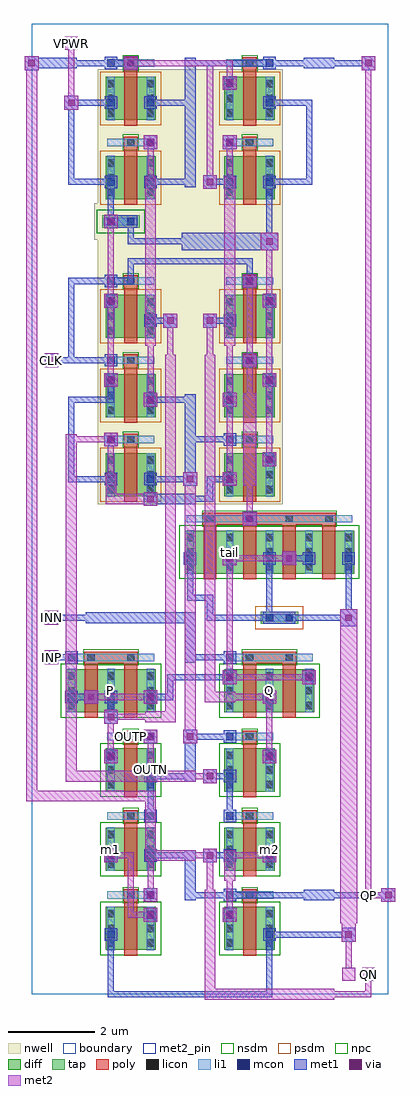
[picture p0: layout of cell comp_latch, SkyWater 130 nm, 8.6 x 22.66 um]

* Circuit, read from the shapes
.subckt comp_latch CLK INN INP OUTN OUTP P Q QN QP VGND VPWR m1 m2 tail
XM1 P INP tail VGND sky130_fd_pr__nfet_01v8 w=1 l=0.3 m=2
XM2 m1 QN VGND VGND sky130_fd_pr__nfet_01v8 w=1 l=0.3
XM3 QP OUTN m1 VGND sky130_fd_pr__nfet_01v8 w=1 l=0.3
XM4 OUTN OUTP P VGND sky130_fd_pr__nfet_01v8 w=1 l=0.3
XM5 tail CLK VGND VGND sky130_fd_pr__nfet_01v8 w=1 l=0.3 m=4
XM6 VGND QP m2 VGND sky130_fd_pr__nfet_01v8 w=1 l=0.3
XM7 m2 OUTP QN VGND sky130_fd_pr__nfet_01v8 w=1 l=0.3
XM8 Q OUTN OUTP VGND sky130_fd_pr__nfet_01v8 w=1 l=0.3
XM9 Q INN tail VGND sky130_fd_pr__nfet_01v8 w=1 l=0.3 m=2
XM10 OUTN OUTP VPWR VPWR sky130_fd_pr__pfet_01v8 w=1 l=0.3
XM11 OUTN CLK VPWR VPWR sky130_fd_pr__pfet_01v8 w=1 l=0.3
XM12 P CLK VPWR VPWR sky130_fd_pr__pfet_01v8 w=1 l=0.3
XM13 QP OUTN VPWR VPWR sky130_fd_pr__pfet_01v8 w=1 l=0.3
XM14 QP QN VPWR VPWR sky130_fd_pr__pfet_01v8 w=1 l=0.3
XM15 VPWR OUTN OUTP VPWR sky130_fd_pr__pfet_01v8 w=1 l=0.3
XM16 VPWR CLK OUTP VPWR sky130_fd_pr__pfet_01v8 w=1 l=0.3
XM17 VPWR CLK Q VPWR sky130_fd_pr__pfet_01v8 w=1 l=0.3
XM18 VPWR OUTP QN VPWR sky130_fd_pr__pfet_01v8 w=1 l=0.3
XM19 VPWR QP QN VPWR sky130_fd_pr__pfet_01v8 w=1 l=0.3
.ends

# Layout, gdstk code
import gdstk
lib = gdstk.Library(unit=1e-6, precision=1e-09)
def R(c, l, rs):  # rectangles x0, y0, x1, y1
    for r in rs: c.add(gdstk.rectangle(r[:2], r[2:], *l))
def A(c, l, x, y, w, h, nx, ny, dx, dy):  # array of equal rectangles
    R(c, l, [(x+i*dx, y+j*dy, x+i*dx+w, y+j*dy+h) for i in range(nx) for j in range(ny)])
nwell = (64, 20)
diff = (65, 20)
tap = (65, 44)
poly = (66, 20)
licon = (66, 44)
li1 = (67, 20)
mcon = (67, 44)
met1 = (68, 20)
via = (68, 44)
met2_pin = (69, 16)
met2 = (69, 20)
nsdm = (93, 44)
psdm = (94, 20)
npc = (95, 20)
boundary = (235, 4)

comp_latch = lib.new_cell('comp_latch')
R(comp_latch, nwell, [(1.535,11.38,5.825,17.52), (1.455,17.52,5.825,18.36), (1.535,18.36,5.825,21.48)])
A(comp_latch, diff, 1.715, 1.025, 1.17, 1, 1, 3, 0, 1.84)
A(comp_latch, diff, 4.475, 1.025, 1.17, 1, 1, 3, 0, 1.84)
A(comp_latch, diff, 1.715, 11.56, 1.17, 1, 1, 3, 0, 1.84)
A(comp_latch, diff, 4.475, 11.56, 1.17, 1, 1, 3, 0, 1.84)
R(comp_latch, diff, [(0.795,6.545,2.885,7.545), (4.475,6.545,6.565,7.545), (3.555,9.765,7.485,10.765), (1.715,18.46,2.885,19.46), (4.475,18.46,5.645,19.46), (1.715,20.3,2.885,21.3), (4.475,20.3,5.645,21.3)])
R(comp_latch, tap, [(5.315,8.595,6.185,8.885), (1.635,17.795,2.505,18.085)])
A(comp_latch, poly, 2.15, 0.895, 0.3, 1.405, 1, 4, 0, 1.84)
A(comp_latch, poly, 4.91, 0.895, 0.3, 1.405, 1, 4, 0, 1.84)
A(comp_latch, poly, 2.135, 2.165, 0.33, 0.27, 1, 3, 0, 1.84)
A(comp_latch, poly, 4.895, 2.165, 0.33, 0.27, 1, 3, 0, 1.84)
A(comp_latch, poly, 3.99, 9.635, 0.3, 1.405, 4, 1, 0.92, 0)
A(comp_latch, poly, 2.15, 11.43, 0.3, 1.45, 1, 3, 0, 1.84)
A(comp_latch, poly, 4.91, 11.43, 0.3, 1.45, 1, 3, 0, 1.84)
A(comp_latch, poly, 2.135, 12.745, 0.33, 0.27, 1, 3, 0, 1.84)
A(comp_latch, poly, 4.895, 12.745, 0.33, 0.27, 1, 3, 0, 1.84)
R(comp_latch, poly, [(1.23,6.415,1.53,7.82), (5.83,6.415,6.13,7.82), (1.215,7.685,2.465,7.955), (4.895,7.685,6.145,7.955), (3.975,10.905,7.065,11.175), (2.15,18.33,2.45,19.78), (4.91,18.33,5.21,19.78), (2.135,19.645,2.465,19.915), (4.895,19.645,5.225,19.915), (2.15,20.17,2.45,21.62), (4.91,20.17,5.21,21.62), (2.135,21.485,2.465,21.755), (4.895,21.485,5.225,21.755)])
A(comp_latch, licon, 1.755, 1.1, 0.17, 0.17, 1, 3, 0, 0.34)
A(comp_latch, licon, 2.675, 1.1, 0.17, 0.17, 1, 3, 0, 0.34)
A(comp_latch, licon, 4.515, 1.1, 0.17, 0.17, 1, 3, 0, 0.34)
A(comp_latch, licon, 5.435, 1.1, 0.17, 0.17, 1, 3, 0, 0.34)
A(comp_latch, licon, 2.215, 2.215, 0.17, 0.17, 1, 4, 0, 1.84)
A(comp_latch, licon, 4.975, 2.215, 0.17, 0.17, 1, 4, 0, 1.84)
A(comp_latch, licon, 1.755, 2.94, 0.17, 0.17, 1, 3, 0, 0.34)
A(comp_latch, licon, 2.675, 2.94, 0.17, 0.17, 1, 3, 0, 0.34)
A(comp_latch, licon, 4.515, 2.94, 0.17, 0.17, 1, 3, 0, 0.34)
A(comp_latch, licon, 5.435, 2.94, 0.17, 0.17, 1, 3, 0, 0.34)
A(comp_latch, licon, 1.755, 4.78, 0.17, 0.17, 1, 3, 0, 0.34)
A(comp_latch, licon, 2.675, 4.78, 0.17, 0.17, 1, 3, 0, 0.34)
A(comp_latch, licon, 4.515, 4.78, 0.17, 0.17, 1, 3, 0, 0.34)
A(comp_latch, licon, 5.435, 4.78, 0.17, 0.17, 1, 3, 0, 0.34)
A(comp_latch, licon, 0.835, 6.62, 0.17, 0.17, 3, 3, 0.92, 0.34)
A(comp_latch, licon, 4.515, 6.62, 0.17, 0.17, 3, 3, 0.92, 0.34)
A(comp_latch, licon, 3.595, 9.84, 0.17, 0.17, 5, 3, 0.92, 0.34)
A(comp_latch, licon, 4.055, 10.955, 0.17, 0.17, 4, 1, 0.92, 0)
A(comp_latch, licon, 1.755, 11.635, 0.17, 0.17, 1, 3, 0, 0.34)
A(comp_latch, licon, 2.675, 11.635, 0.17, 0.17, 1, 3, 0, 0.34)
A(comp_latch, licon, 4.515, 11.635, 0.17, 0.17, 1, 3, 0, 0.34)
A(comp_latch, licon, 5.435, 11.635, 0.17, 0.17, 1, 3, 0, 0.34)
A(comp_latch, licon, 2.215, 12.795, 0.17, 0.17, 1, 3, 0, 1.84)
A(comp_latch, licon, 4.975, 12.795, 0.17, 0.17, 1, 3, 0, 1.84)
A(comp_latch, licon, 1.755, 13.475, 0.17, 0.17, 1, 3, 0, 0.34)
A(comp_latch, licon, 2.675, 13.475, 0.17, 0.17, 1, 3, 0, 0.34)
A(comp_latch, licon, 4.515, 13.475, 0.17, 0.17, 1, 3, 0, 0.34)
A(comp_latch, licon, 5.435, 13.475, 0.17, 0.17, 1, 3, 0, 0.34)
A(comp_latch, licon, 1.755, 15.315, 0.17, 0.17, 1, 3, 0, 0.34)
A(comp_latch, licon, 2.675, 15.315, 0.17, 0.17, 1, 3, 0, 0.34)
A(comp_latch, licon, 4.515, 15.315, 0.17, 0.17, 1, 3, 0, 0.34)
A(comp_latch, licon, 5.435, 15.315, 0.17, 0.17, 1, 3, 0, 0.34)
A(comp_latch, licon, 2.215, 17.855, 0.17, 0.17, 1, 3, 0, 1.84)
A(comp_latch, licon, 1.755, 18.535, 0.17, 0.17, 1, 3, 0, 0.34)
A(comp_latch, licon, 2.675, 18.535, 0.17, 0.17, 1, 3, 0, 0.34)
A(comp_latch, licon, 4.515, 18.535, 0.17, 0.17, 1, 3, 0, 0.34)
A(comp_latch, licon, 5.435, 18.535, 0.17, 0.17, 1, 3, 0, 0.34)
A(comp_latch, licon, 1.755, 20.375, 0.17, 0.17, 1, 3, 0, 0.34)
A(comp_latch, licon, 2.675, 20.375, 0.17, 0.17, 1, 3, 0, 0.34)
A(comp_latch, licon, 4.515, 20.375, 0.17, 0.17, 1, 3, 0, 0.34)
A(comp_latch, licon, 5.435, 20.375, 0.17, 0.17, 1, 3, 0, 0.34)
R(comp_latch, licon, [(1.295,7.735,1.465,7.905), (5.895,7.735,6.065,7.905), (5.435,8.655,5.605,8.825), (5.895,8.655,6.065,8.825), (1.755,17.855,1.925,18.025), (4.975,19.695,5.145,19.865), (4.975,21.535,5.145,21.705)])
A(comp_latch, li1, 1.755, 1.02, 0.17, 1.01, 1, 3, 0, 1.84)
A(comp_latch, li1, 2.675, 1.02, 0.17, 1.01, 1, 3, 0, 1.84)
A(comp_latch, li1, 4.515, 1.02, 0.17, 1.01, 1, 3, 0, 1.84)
A(comp_latch, li1, 5.435, 1.02, 0.17, 1.01, 1, 3, 0, 1.84)
A(comp_latch, li1, 1.755, 2.215, 1.09, 0.17, 1, 3, 0, 1.84)
A(comp_latch, li1, 4.515, 2.215, 1.09, 0.17, 1, 3, 0, 1.84)
A(comp_latch, li1, 0.835, 6.54, 0.17, 1.01, 3, 1, 0.92, 0)
A(comp_latch, li1, 4.515, 6.54, 0.17, 1.01, 3, 1, 0.92, 0)
A(comp_latch, li1, 3.595, 9.76, 0.17, 1.01, 5, 1, 0.92, 0)
A(comp_latch, li1, 1.755, 11.555, 0.17, 1.01, 1, 3, 0, 1.84)
A(comp_latch, li1, 2.675, 11.555, 0.17, 1.01, 1, 3, 0, 1.84)
A(comp_latch, li1, 4.515, 11.555, 0.17, 1.01, 1, 3, 0, 1.84)
A(comp_latch, li1, 5.435, 11.555, 0.17, 1.01, 1, 3, 0, 1.84)
A(comp_latch, li1, 1.755, 12.795, 1.09, 0.17, 1, 3, 0, 1.84)
A(comp_latch, li1, 4.515, 12.795, 1.09, 0.17, 1, 3, 0, 1.84)
R(comp_latch, li1, [(0.835,7.735,2.845,7.905), (4.515,7.735,6.525,7.905), (5.355,8.655,6.145,8.825), (3.595,10.955,7.445,11.125), (1.675,17.855,2.465,18.025), (1.755,18.455,1.925,19.465), (2.675,18.455,2.845,19.465), (4.515,18.455,4.685,19.465), (5.435,18.455,5.605,19.465), (1.755,19.695,2.845,19.865), (4.515,19.695,5.605,19.865), (1.755,20.295,1.925,21.305), (2.675,20.295,2.845,21.305), (4.515,20.295,4.685,21.305), (5.435,20.295,5.605,21.305), (1.755,21.535,2.845,21.705), (4.515,21.535,5.605,21.705)])
A(comp_latch, mcon, 2.675, 2.215, 0.17, 0.17, 1, 5, 0, 0.92)
A(comp_latch, mcon, 4.515, 2.215, 0.17, 0.17, 1, 5, 0, 0.92)
A(comp_latch, mcon, 0.835, 6.815, 0.17, 0.17, 3, 1, 0.92, 0)
A(comp_latch, mcon, 3.595, 10.035, 0.17, 0.17, 5, 1, 0.92, 0)
A(comp_latch, mcon, 2.675, 11.875, 0.17, 0.17, 1, 3, 0, 1.84)
A(comp_latch, mcon, 4.515, 11.875, 0.17, 0.17, 1, 3, 0, 0.92)
A(comp_latch, mcon, 5.435, 12.335, 0.17, 0.17, 1, 3, 0, 1.84)
A(comp_latch, mcon, 2.675, 18.775, 0.17, 0.17, 1, 3, 0, 0.92)
R(comp_latch, mcon, [(1.755,1.295,1.925,1.465), (5.435,1.295,5.605,1.465), (2.675,1.755,2.845,1.925), (4.515,1.755,4.685,1.925), (1.755,3.135,1.925,3.305), (5.435,3.135,5.605,3.305), (1.755,5.435,1.925,5.605), (5.435,5.435,5.605,5.605), (5.435,6.815,5.605,6.985), (4.515,7.275,4.685,7.445), (6.355,7.275,6.525,7.445), (0.835,7.735,1.005,7.905), (4.515,7.735,4.685,7.905), (5.435,8.655,5.605,8.825), (5.895,8.655,6.065,8.825), (4.975,10.955,5.145,11.125), (1.755,11.875,1.925,12.045), (1.755,12.795,1.925,12.965), (1.755,14.175,1.925,14.345), (1.755,14.635,1.925,14.805), (4.975,14.635,5.145,14.805), (4.515,15.555,4.685,15.725), (1.755,16.015,1.925,16.185), (1.755,16.475,1.925,16.645), (4.975,16.475,5.145,16.645), (1.755,17.855,1.925,18.025), (2.215,17.855,2.385,18.025), (1.755,18.775,1.925,18.945), (4.515,18.775,4.685,18.945), (5.435,18.775,5.605,18.945), (4.515,19.695,4.685,19.865), (1.755,20.615,1.925,20.785), (5.435,20.615,5.605,20.785), (4.515,21.075,4.685,21.245), (1.755,21.535,1.925,21.705), (5.435,21.535,5.605,21.705)])
A(comp_latch, met1, 5.45, -0.07, 0.14, 1.52, 1, 3, 0, 8.74)
A(comp_latch, met1, 2.615, 2.155, 0.29, 0.29, 1, 5, 0, 0.92)
A(comp_latch, met1, 4.455, 2.155, 0.29, 0.29, 1, 5, 0, 0.92)
A(comp_latch, met1, 3.555, 2.175, 0.25, 1.17, 1, 3, 0, 2.76)
A(comp_latch, met1, 0.775, 6.755, 0.29, 0.29, 3, 1, 0.92, 0)
A(comp_latch, met1, 4.44, 9.96, 0.32, 0.32, 1, 3, 0, 1.84)
A(comp_latch, met1, 3.535, 9.975, 0.29, 0.29, 5, 1, 0.92, 0)
A(comp_latch, met1, 2.615, 11.815, 0.29, 0.29, 1, 3, 0, 1.84)
A(comp_latch, met1, 4.455, 11.815, 0.29, 0.29, 1, 3, 0, 0.92)
A(comp_latch, met1, 5.36, 12.26, 0.32, 0.32, 1, 3, 0, 1.84)
A(comp_latch, met1, 5.375, 12.275, 0.29, 0.29, 1, 3, 0, 1.84)
A(comp_latch, met1, 1.68, 14.1, 0.32, 0.32, 1, 3, 0, 1.84)
A(comp_latch, met1, 2.615, 18.715, 0.29, 0.29, 1, 3, 0, 0.92)
R(comp_latch, met1, [(1.77,-0.07,5.59,0.07), (1.77,-0.07,1.91,1.45), (7.2,1.22,7.52,1.54), (1.695,1.235,1.985,1.525), (5.375,1.235,5.665,1.525), (5.45,1.31,7.43,1.45), (2.6,1.68,2.92,2), (4.44,1.68,4.76,2), (2.615,1.695,2.905,1.985), (4.455,1.695,4.745,1.985), (2.6,2.14,2.92,2.46), (8.12,2.14,8.44,2.46), (6.315,2.175,7.025,2.425), (3.61,2.23,4.67,2.37), (4.53,2.23,6.51,2.37), (6.83,2.23,8.35,2.37), (1.68,3.06,2,3.38), (3.98,3.06,4.3,3.38), (5.36,3.06,5.68,3.38), (1.695,3.075,1.985,3.365), (5.375,3.075,5.665,3.365), (2.69,3.15,3.75,3.29), (4.07,3.15,4.67,3.29), (2.69,4.07,2.83,5.13), (4.53,4.07,4.67,5.13), (3.98,4.9,4.3,5.22), (2.69,4.99,3.75,5.13), (4.07,4.99,4.67,5.13), (1.68,5.36,2,5.68), (5.36,5.36,5.68,5.68), (1.695,5.375,1.985,5.665), (5.375,5.375,5.665,5.665), (2.6,5.82,2.92,6.14), (3.52,5.82,3.84,6.14), (3.61,5.91,4.67,6.05), (1.68,6.28,2,6.6), (1.77,6.37,1.91,6.97), (1.22,6.74,1.54,7.06), (2.6,6.74,2.92,7.06), (5.36,6.74,5.68,7.06), (5.375,6.755,5.665,7.045), (0.85,6.83,1.45,6.97), (2.69,6.83,3.29,6.97), (3.15,6.83,3.29,7.43), (4.44,7.2,4.76,7.52), (6.28,7.2,6.6,7.52), (4.455,7.215,4.745,7.505), (6.295,7.215,6.585,7.505), (3.15,7.29,4.67,7.43), (0.3,7.66,0.62,7.98), (0.775,7.675,1.065,7.965), (4.455,7.675,4.745,7.965), (0.39,7.75,0.99,7.89), (3.61,7.75,4.67,7.89), (7.16,8.54,7.56,8.94), (0.3,8.58,0.62,8.9), (5.375,8.595,6.125,8.885), (1.255,8.615,3.805,8.865), (0.39,8.67,1.45,8.81), (4.07,8.67,5.59,8.81), (4.07,8.67,4.21,9.27), (5.45,8.67,7.43,8.81), (5.45,8.67,5.59,8.81), (7.29,8.67,7.43,10.19), (3.61,9.13,4.21,9.27), (3.61,9.13,3.75,10.19), (5.82,9.96,6.14,10.28), (5.91,10.05,6.51,10.19), (4.9,10.88,5.22,11.2), (4.915,10.895,5.205,11.185), (2.6,11.34,2.92,11.66), (2.635,11.375,3.805,11.625), (3.61,11.43,4.21,11.57), (4.07,11.43,4.21,12.03), (3.52,11.8,3.84,12.12), (1.695,11.815,1.985,12.105), (3.555,11.835,3.805,13.925), (0.85,11.89,1.91,12.03), (0.85,11.89,0.99,13.87), (2.69,11.89,3.75,12.03), (4.07,11.89,4.67,12.03), (1.68,12.72,2,13.04), (1.695,12.735,1.985,13.025), (3.61,12.81,4.67,12.95), (2.6,13.64,2.92,13.96), (0.85,13.73,1.91,13.87), (1.77,13.73,1.91,14.33), (2.69,13.73,3.75,13.87), (1.695,14.115,1.985,14.405), (0.3,14.56,0.62,14.88), (4.9,14.56,5.22,14.88), (1.695,14.575,1.985,14.865), (4.915,14.575,5.205,14.865), (0.39,14.65,1.91,14.79), (0.85,14.65,0.99,16.63), (3.06,15.48,3.38,15.8), (3.98,15.48,4.3,15.8), (4.455,15.495,4.745,15.785), (2.69,15.57,3.29,15.71), (4.07,15.57,4.67,15.71), (1.695,15.955,1.985,16.245), (4.9,16.4,5.22,16.72), (1.695,16.415,1.985,16.705), (4.915,16.415,5.205,16.705), (0.85,16.49,1.91,16.63), (1.77,16.49,2.37,16.63), (2.23,16.49,2.37,17.09), (4.99,16.49,5.13,17.09), (2.23,16.95,5.13,17.09), (3.48,17.28,5.72,17.68), (5.32,17.28,5.72,17.68), (2.23,17.41,3.75,17.55), (2.23,17.41,2.37,18.01), (1.695,17.795,2.445,18.085), (1.77,17.87,2.37,18.01), (1.77,17.87,1.91,18.01), (1.77,17.87,1.91,18.93), (3.98,18.7,4.3,19.02), (1.695,18.715,1.985,19.005), (4.455,18.715,4.745,19.005), (5.375,18.715,5.665,19.005), (3.555,18.735,3.805,20.825), (0.85,18.79,1.91,18.93), (0.85,18.79,0.99,20.77), (2.69,18.79,3.75,18.93), (4.07,18.79,4.67,18.93), (5.45,18.79,6.51,18.93), (6.37,18.79,6.51,20.77), (2.6,19.62,2.92,19.94), (4.44,19.62,4.76,19.94), (4.455,19.635,4.745,19.925), (0.76,20.54,1.08,20.86), (1.695,20.555,1.985,20.845), (5.375,20.555,5.665,20.845), (3.555,20.575,3.805,21.745), (0.85,20.63,1.91,20.77), (2.69,20.63,3.75,20.77), (5.45,20.63,6.51,20.77), (4.44,21,4.76,21.32), (4.455,21.015,4.745,21.305), (-0.16,21.46,0.16,21.78), (2.14,21.46,2.46,21.78), (7.66,21.46,7.98,21.78), (1.695,21.475,1.985,21.765), (5.375,21.475,5.665,21.765), (-0.125,21.495,1.045,21.745), (6.315,21.495,7.025,21.745), (0.85,21.55,1.91,21.69), (1.77,21.55,2.37,21.69), (3.61,21.55,5.59,21.69), (5.45,21.55,6.51,21.69), (6.83,21.55,7.89,21.69)])
A(comp_latch, via, 4.525, 10.045, 0.15, 0.15, 1, 3, 0, 1.84)
A(comp_latch, via, 5.445, 12.345, 0.15, 0.15, 1, 3, 0, 1.84)
A(comp_latch, via, 1.765, 14.185, 0.15, 0.15, 1, 3, 0, 1.84)
R(comp_latch, via, [(7.285,1.305,7.435,1.455), (2.685,1.765,2.835,1.915), (4.525,1.765,4.675,1.915), (2.685,2.225,2.835,2.375), (8.205,2.225,8.355,2.375), (1.765,3.145,1.915,3.295), (4.065,3.145,4.215,3.295), (5.445,3.145,5.595,3.295), (4.065,4.985,4.215,5.135), (1.765,5.445,1.915,5.595), (5.445,5.445,5.595,5.595), (2.685,5.905,2.835,6.055), (3.605,5.905,3.755,6.055), (1.765,6.365,1.915,6.515), (1.305,6.825,1.455,6.975), (2.685,6.825,2.835,6.975), (5.445,6.825,5.595,6.975), (4.525,7.285,4.675,7.435), (6.365,7.285,6.515,7.435), (0.385,7.745,0.535,7.895), (0.385,8.665,0.535,8.815), (7.285,8.665,7.435,8.815), (5.905,10.045,6.055,10.195), (4.985,10.965,5.135,11.115), (2.685,11.425,2.835,11.575), (3.605,11.885,3.755,12.035), (1.765,12.805,1.915,12.955), (2.685,13.725,2.835,13.875), (0.385,14.645,0.535,14.795), (4.985,14.645,5.135,14.795), (3.145,15.565,3.295,15.715), (4.065,15.565,4.215,15.715), (4.985,16.485,5.135,16.635), (5.445,17.405,5.595,17.555), (4.065,18.785,4.215,18.935), (2.685,19.705,2.835,19.855), (4.525,19.705,4.675,19.855), (0.845,20.625,0.995,20.775), (4.525,21.085,4.675,21.235), (-0.075,21.545,0.075,21.695), (2.225,21.545,2.375,21.695), (7.745,21.545,7.895,21.695)])
R(comp_latch, met2_pin, [(7.21,0.31,7.51,0.61), (7.67,0.31,7.97,0.61), (7.75,2.23,7.89,2.37), (0.31,7.67,0.61,7.97), (0.31,8.59,0.61,8.89), (0.31,14.57,0.61,14.87), (0.77,21.93,1.07,22.23)])
A(comp_latch, met2, 4.44, 9.96, 0.32, 0.32, 1, 3, 0, 1.84)
A(comp_latch, met2, 5.36, 12.26, 0.32, 0.32, 1, 3, 0, 1.84)
A(comp_latch, met2, 1.68, 14.1, 0.32, 0.32, 1, 3, 0, 1.84)
R(comp_latch, met2, [(4.015,-0.125,4.265,2.425), (4.015,-0.125,7.025,0.125), (6.83,-0.07,7.89,0.07), (7.75,-0.07,7.89,0.53), (7.21,0.31,7.51,0.61), (7.67,0.31,7.97,0.61), (7.29,0.39,7.43,1.91), (7.29,0.39,7.43,0.53), (7.75,0.39,7.89,0.53), (7.2,1.22,7.52,1.54), (7.2,1.54,7.52,1.64), (7.16,1.64,7.56,8.94), (2.6,1.68,2.92,2), (4.44,1.68,4.76,2), (2.23,1.77,2.83,1.91), (2.23,1.77,2.37,3.29), (4.53,1.77,4.67,2.83), (2.6,2.14,2.92,2.46), (8.12,2.14,8.44,2.46), (2.69,2.23,2.83,3.29), (4.07,2.23,4.21,3.29), (7.75,2.23,8.35,2.37), (7.75,2.23,7.89,21.69), (7.75,2.23,7.89,2.37), (4.475,2.635,4.725,3.345), (1.68,3.06,2,3.38), (3.98,3.06,4.3,3.38), (5.36,3.06,5.68,3.38), (2.635,3.095,3.805,3.345), (2.635,3.095,2.885,4.725), (1.77,3.15,2.37,3.29), (3.61,3.15,4.21,3.29), (4.53,3.15,5.59,3.29), (-0.125,4.475,2.885,4.725), (-0.125,4.475,0.125,21.745), (3.98,4.9,4.3,5.22), (0.795,4.935,1.045,13.005), (0.795,4.935,2.885,5.185), (2.635,4.935,3.805,5.185), (2.69,4.99,2.83,6.05), (3.61,4.99,4.21,5.13), (1.68,5.36,2,5.68), (5.36,5.36,5.68,5.68), (1.77,5.45,1.91,6.51), (5.45,5.45,5.59,6.97), (2.6,5.82,2.92,6.14), (3.52,5.82,3.84,6.14), (3.555,5.855,3.805,12.085), (1.68,6.28,2,6.6), (2.635,6.315,3.345,6.565), (3.095,6.315,3.345,14.845), (1.77,6.37,2.83,6.51), (1.22,6.74,1.54,7.06), (2.6,6.74,2.92,7.06), (5.36,6.74,5.68,7.06), (4.015,6.775,4.725,7.025), (4.015,6.775,4.265,14.845), (1.31,6.83,2.83,6.97), (4.53,6.83,5.59,6.97), (4.44,7.2,4.76,7.52), (6.28,7.2,6.6,7.52), (4.53,7.29,4.67,10.19), (4.53,7.29,6.51,7.43), (0.3,7.66,0.62,7.98), (0.31,7.67,0.61,7.97), (0.39,7.75,0.53,7.89), (7.16,8.54,7.56,8.94), (0.3,8.58,0.62,8.9), (0.31,8.59,0.61,8.89), (0.39,8.67,0.53,8.81), (5.82,9.96,6.14,10.28), (4.53,10.05,6.05,10.19), (4.9,10.88,5.22,11.2), (4.99,10.97,5.13,12.03), (2.6,11.34,2.92,11.66), (1.715,11.375,1.965,12.085), (1.715,11.375,2.885,11.625), (3.52,11.8,3.84,12.12), (4.91,11.81,5.21,13.95), (1.77,11.89,1.91,12.95), (4.53,11.89,4.67,13.87), (5.45,12.35,5.59,14.33), (1.68,12.72,2,13.04), (0.85,12.81,1.91,12.95), (2.6,13.64,2.92,13.96), (2.69,13.73,2.83,15.25), (4.53,13.73,4.67,15.25), (4.99,13.73,5.13,14.79), (1.77,14.19,1.91,16.17), (5.45,14.19,5.59,16.17), (0.3,14.56,0.62,14.88), (4.9,14.56,5.22,14.88), (0.31,14.57,0.61,14.87), (0.39,14.65,0.53,14.79), (3.15,14.65,3.29,15.71), (4.07,14.65,4.21,15.71), (4.99,14.65,5.13,16.63), (2.635,15.055,2.885,18.985), (4.475,15.055,4.725,18.985), (3.06,15.48,3.38,15.8), (3.98,15.48,4.3,15.8), (1.77,16.03,1.91,18.01), (5.45,16.03,5.59,17.55), (4.9,16.4,5.22,16.72), (5.32,17.28,5.72,17.68), (3.98,18.7,4.3,19.02), (2.69,18.79,2.83,19.85), (4.07,18.79,4.21,21.69), (4.53,18.79,4.67,19.85), (2.6,19.62,2.92,19.94), (4.44,19.62,4.76,19.94), (0.76,20.54,1.08,20.86), (0.85,20.63,0.99,22.15), (4.44,21,4.76,21.32), (4.53,21.09,4.67,21.69), (-0.16,21.46,0.16,21.78), (2.14,21.46,2.46,21.78), (7.66,21.46,7.98,21.78), (2.23,21.55,4.67,21.69), (0.77,21.93,1.07,22.23), (0.85,22.01,0.99,22.15)])
A(comp_latch, nsdm, 1.59, 0.9, 1.42, 1.25, 1, 3, 0, 1.84)
A(comp_latch, nsdm, 4.35, 0.9, 1.42, 1.25, 1, 3, 0, 1.84)
R(comp_latch, nsdm, [(0.67,6.42,3.01,7.67), (4.35,6.42,6.69,7.67), (3.43,9.64,7.61,10.89), (1.51,17.67,2.63,18.21)])
A(comp_latch, psdm, 1.59, 11.435, 1.42, 1.25, 1, 3, 0, 1.84)
A(comp_latch, psdm, 4.35, 11.435, 1.42, 1.25, 1, 3, 0, 1.84)
R(comp_latch, psdm, [(5.19,8.47,6.31,9.01), (1.59,18.335,3.01,19.585), (4.35,18.335,5.77,19.585), (1.59,20.175,3.01,21.425), (4.35,20.175,5.77,21.425)])
A(comp_latch, npc, 2.115, 2.115, 0.37, 0.37, 1, 3, 0, 1.84)
A(comp_latch, npc, 4.875, 2.115, 0.37, 0.37, 1, 3, 0, 1.84)
A(comp_latch, npc, 2.115, 12.695, 0.37, 0.37, 1, 3, 0, 1.84)
A(comp_latch, npc, 4.875, 12.695, 0.37, 0.37, 1, 3, 0, 1.84)
R(comp_latch, npc, [(1.195,7.635,2.485,8.005), (4.875,7.635,6.165,8.005), (3.955,10.855,7.085,11.225), (2.115,19.595,2.485,19.965), (4.875,19.595,5.245,19.965), (2.115,21.435,2.485,21.805), (4.875,21.435,5.245,21.805)])
R(comp_latch, boundary, [(0,0,8.28,22.54)])
comp_latch.add(gdstk.Label('tail', (4.6,10.265), layer=67, texttype=5))
comp_latch.add(gdstk.Label('P', (1.84,7.045), layer=67, texttype=5))
comp_latch.add(gdstk.Label('Q', (5.52,7.045), layer=67, texttype=5))
comp_latch.add(gdstk.Label('OUTP', (2.3,5.98), layer=67, texttype=5))
comp_latch.add(gdstk.Label('OUTN', (2.76,5.205), layer=67, texttype=5))
comp_latch.add(gdstk.Label('m1', (1.84,3.365), layer=67, texttype=5))
comp_latch.add(gdstk.Label('m2', (5.52,3.365), layer=67, texttype=5))
comp_latch.add(gdstk.Label('CLK', (0.46,14.72), layer=69, texttype=5))
comp_latch.add(gdstk.Label('INP', (0.46,7.82), layer=69, texttype=5))
comp_latch.add(gdstk.Label('INN', (0.46,8.74), layer=69, texttype=5))
comp_latch.add(gdstk.Label('QP', (7.82,2.3), layer=69, texttype=5))
comp_latch.add(gdstk.Label('QN', (7.82,0.46), layer=69, texttype=5))
comp_latch.add(gdstk.Label('VPWR', (0.92,22.08), layer=69, texttype=5))
comp_latch.add(gdstk.Label('VGND', (7.36,0.46), layer=69, texttype=5))
comp_latch.add(gdstk.Label('CLK', (0.46,14.72), layer=69, texttype=16))
comp_latch.add(gdstk.Label('INP', (0.46,7.82), layer=69, texttype=16))
comp_latch.add(gdstk.Label('INN', (0.46,8.74), layer=69, texttype=16))
comp_latch.add(gdstk.Label('QP', (7.82,2.3), layer=69, texttype=16))
comp_latch.add(gdstk.Label('QN', (7.82,0.46), layer=69, texttype=16))
comp_latch.add(gdstk.Label('VPWR', (0.92,22.08), layer=69, texttype=16))
comp_latch.add(gdstk.Label('VGND', (7.36,0.46), layer=69, texttype=16))

lib.write_gds('comp_latch.gds')
